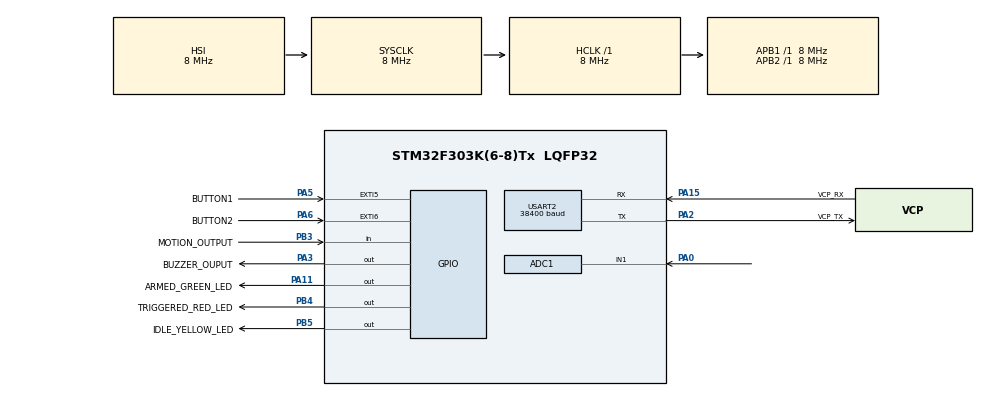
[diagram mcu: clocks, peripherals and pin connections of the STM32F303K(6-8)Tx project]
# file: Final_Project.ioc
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ADC1.Channel-0\#ChannelRegularConversion=ADC_CHANNEL_1
ADC1.ContinuousConvMode=ENABLE
ADC1.NbrOfConversionFlag=1
ADC1.Offset-0\#ChannelRegularConversion=0
ADC1.OffsetNumber-0\#ChannelRegularConversion=ADC_OFFSET_NONE
ADC1.Rank-0\#ChannelRegularConversion=1
ADC1.SamplingTime-0\#ChannelRegularConversion=ADC_SAMPLETIME_1CYCLE_5
ADC1.SamplingTimeOPAMP-0\#ChannelRegularConversion=ADC_SAMPLETIME_4CYCLES_5
ADC1.SubFamily=STM32F303x8
ADC1.master=1
Mcu.Family=STM32F3
Mcu.Name=STM32F303K(6-8)Tx
Mcu.Package=LQFP32
NVIC.EXTI9_5_IRQn=true\:0\:0\:false\:false\:true\:true\:true\:true
NVIC.PriorityGroup=NVIC_PRIORITYGROUP_4
NVIC.USART2_IRQn=true\:0\:0\:false\:false\:true\:true\:true\:true
PA0.Mode=IN1-Single-Ended
PA0.Signal=ADC1_IN1
PA11.GPIO_Label=ARMED_GREEN_LED
PA11.Signal=GPIO_Output
PA13.GPIO_Label=SWDIO
PA13.Mode=Serial_Wire
PA13.Signal=SYS_JTMS-SWDIO
PA14.GPIO_Label=SWCLK
PA14.Mode=Serial_Wire
PA14.Signal=SYS_JTCK-SWCLK
PA15.GPIO_Label=VCP_RX
PA15.Mode=Asynchronous
PA15.Signal=USART2_RX
PA2.GPIO_Label=VCP_TX
PA2.Mode=Asynchronous
PA2.Signal=USART2_TX
PA3.GPIO_Label=BUZZER_OUPUT
PA3.Signal=GPIO_Output
PA5.GPIO_Label=BUTTON1
PA5.Signal=GPXTI5
PA6.GPIO_Label=BUTTON2
PA6.Signal=GPXTI6
PB3.GPIO_Label=MOTION_OUTPUT
PB3.Signal=GPIO_Input
PB4.GPIO_Label=TRIGGERED_RED_LED
PB4.Signal=GPIO_Output
PB5.GPIO_Label=IDLE_YELLOW_LED
PB5.Signal=GPIO_Output
PF0\ /\ OSC_IN.GPIO_Label=MCO
PF0\ /\ OSC_IN.Mode=HSE-External-Clock-Source
PF0\ /\ OSC_IN.Signal=RCC_OSC_IN
ProjectManager.HeapSize=0x200
ProjectManager.StackSize=0x400
ProjectManager.TargetToolchain=STM32CubeIDE
RCC.AHBFreq_Value=8000000
RCC.APB1Freq_Value=8000000
RCC.APB2Freq_Value=8000000
RCC.CortexFreq_Value=8000000
RCC.HSE_VALUE=8000000
RCC.HSI_VALUE=8000000
RCC.PLLMUL=RCC_PLL_MUL4
RCC.SYSCLKFreq_VALUE=8000000
USART2.BaudRate=38400
USART2.TxPinLevelInvertParam=ADVFEATURE_TXINV_DISABLE
USART2.VirtualMode-Asynchronous=VM_ASYNC
board=NUCLEO-F303K8

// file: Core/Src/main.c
/* USER CODE BEGIN Header */
/* USER CODE END Header */
#include "main.h"
#include <stdio.h>
#include <stdlib.h>
#include <string.h>

volatile uint8_t button1Pressed = 0;
volatile uint8_t button2Pressed = 0;
volatile uint32_t lastButtonPressTime = 0;
volatile uint16_t rawValue;
volatile char value;

ADC_HandleTypeDef hadc1;

UART_HandleTypeDef huart2;

void SystemClock_Config(void);
static void MX_GPIO_Init(void);
static void MX_USART2_UART_Init(void);
static void MX_ADC1_Init(void);

/* USER CODE BEGIN 0 */
typedef enum
{
	IDLE_State,
	ARMED_State,
	TRIGGERED_State

} eSystemState;

/* Prototype Event Handlers */
void HAL_GPIO_EXTI_Callback(uint16_t GPIO_Pin) {
	uint32_t currentTime = HAL_GetTick();
	if(GPIO_Pin == BUTTON1_Pin && currentTime - lastButtonPressTime > 50) {
		button1Pressed = 1;
		lastButtonPressTime = HAL_GetTick();
	} else if(GPIO_Pin == BUTTON2_Pin && currentTime - lastButtonPressTime > 50) {
		button2Pressed = 1;
		lastButtonPressTime = HAL_GetTick();
	}
}

uint8_t PassCode_Handler() {
	uint32_t TIMEOUT_TIMER = 5000;
	uint8_t PASSWORD_LENGTH = 4;
	int password[4] = {1,1,1,1};
	volatile uint8_t passwordIndex = 0;
	button1Pressed = 0;
	button2Pressed = 0;
	lastButtonPressTime = HAL_GetTick();

	while(1) {
		//Correct Password Entered
		if(passwordIndex == PASSWORD_LENGTH) {
			HAL_GPIO_WritePin(GPIOA, ARMED_GREEN_LED_Pin, GPIO_PIN_SET);
			HAL_Delay(1000);
			HAL_GPIO_WritePin(GPIOA, ARMED_GREEN_LED_Pin, GPIO_PIN_RESET);
			value = 'P';
			UART_Handler(value);
			button1Pressed = 0;
			button2Pressed = 0;
			return 1;
		}
		//If 5 seconds elapses since last button input, leaves the passcode handler
		if(HAL_GetTick() - lastButtonPressTime >= TIMEOUT_TIMER) {
			button1Pressed = 0;
			button2Pressed = 0;
			return 2;
		}
		//Checks if button1 was the correct choice
		if(button1Pressed) {
			if(passwordIndex < PASSWORD_LENGTH && password[passwordIndex] == 1) {
				passwordIndex++;
				button1Pressed = 0;
				//Incorrect
			} else {
				HAL_GPIO_WritePin(GPIOB, TRIGGERED_RED_LED_Pin, GPIO_PIN_SET);
				HAL_Delay(500);
				HAL_GPIO_WritePin(GPIOB, TRIGGERED_RED_LED_Pin, GPIO_PIN_RESET);
				HAL_Delay(500);
				value = 'p';
				UART_Handler(value);
				button1Pressed = 0;
				return 0;
			}
			//Checks if button2 was the correct choice
		}else if(button2Pressed) {
			if(passwordIndex < PASSWORD_LENGTH && password[passwordIndex] == 0) {
				passwordIndex++;
				button2Pressed = 0;
				//Incorrect
			} else {
				HAL_GPIO_WritePin(GPIOB, TRIGGERED_RED_LED_Pin, GPIO_PIN_SET);
				HAL_Delay(500);
				HAL_GPIO_WritePin(GPIOB, TRIGGERED_RED_LED_Pin, GPIO_PIN_RESET);
				HAL_Delay(500);
				value = 'p';
				UART_Handler(value);
				button2Pressed = 0;
				return 0;
			}
		}
	}
}

void UART_Handler(char value) {
	char data[128];
	uint8_t time = HAL_GetTick()/1000;
	switch(value) {
	case 'p': {
		sprintf(data, "%d : Password Entered Incorrectly\r\n", time);
		HAL_UART_Transmit(&huart2, (uint8_t*)data, strlen(data), HAL_MAX_DELAY);
		break;
	}
	case 'P': {
		sprintf(data, "%d : Password Entered Correctly\r\n", time);
		HAL_UART_Transmit(&huart2, (uint8_t*)data, strlen(data), HAL_MAX_DELAY);
		break;
	}
	case 'I': {
		sprintf(data, "%d : Security System Unarmed\r\n", time);
		HAL_UART_Transmit(&huart2, (uint8_t*)data, strlen(data), HAL_MAX_DELAY);
		break;
	}
	case 'A': {
		sprintf(data, "%d : Security System Armed\r\n", time);
		HAL_UART_Transmit(&huart2, (uint8_t*)data, strlen(data), HAL_MAX_DELAY);
		break;
	}
	case 'M': {
		sprintf(data, "%d : Motion Detected!\r\n", time);
		HAL_UART_Transmit(&huart2, (uint8_t*)data, strlen(data), HAL_MAX_DELAY);
		break;
	}
	case 'L': {
		sprintf(data, "%d : Light Change Detected!\r\n", time);
		HAL_UART_Transmit(&huart2, (uint8_t*)data, strlen(data), HAL_MAX_DELAY);
		break;
	}
	default: break;
	}
	return;
}

uint8_t Sensor_Handler() {
    HAL_ADC_Init(&hadc1);
    HAL_ADC_Start(&hadc1);

	HAL_ADC_PollForConversion(&hadc1, HAL_MAX_DELAY);
	rawValue = HAL_ADC_GetValue(&hadc1);

	while(1) {
		//If rawValue = 2482 (Voltage = 2V) then trigger Security Alarm
		if(rawValue >= 100) {
			value = 'L';
			return 1;
		}

		if(HAL_GPIO_ReadPin(GPIOB, GPIO_PIN_3)) {
			value = 'M';
			return 1;
		}

		else {
			return 0;
		}
	}
	return 0;
}

eSystemState IDLE_Handler(void)
{

	HAL_GPIO_WritePin(GPIOA, ARMED_GREEN_LED_Pin, GPIO_PIN_RESET);
	HAL_GPIO_WritePin(GPIOB, IDLE_YELLOW_LED_Pin, GPIO_PIN_SET);
	HAL_GPIO_WritePin(GPIOB, TRIGGERED_RED_LED_Pin, GPIO_PIN_RESET);
	HAL_GPIO_WritePin(GPIOA, GPIO_PIN_3, GPIO_PIN_RESET);

	value = 'I';
	UART_Handler(value);

	while(1) {
		if(PassCode_Handler() == 1) {
			return ARMED_State;
		}
	}
}

eSystemState ARMED_Handler(void) {
	//So owner has time to leave room before alarm is set
	int i;
	for(i = 0; i < 3; i= i + 1) {
		HAL_GPIO_WritePin(GPIOA, ARMED_GREEN_LED_Pin, GPIO_PIN_SET);
		HAL_Delay(500);
		HAL_GPIO_WritePin(GPIOA, ARMED_GREEN_LED_Pin,GPIO_PIN_RESET);
		HAL_Delay(500);
	}
	HAL_GPIO_WritePin(GPIOB, IDLE_YELLOW_LED_Pin, GPIO_PIN_RESET);
	HAL_GPIO_WritePin(GPIOB, TRIGGERED_RED_LED_Pin, GPIO_PIN_RESET);
	HAL_GPIO_WritePin(GPIOA, ARMED_GREEN_LED_Pin, GPIO_PIN_SET);

	value = 'A';
	UART_Handler(value);

	while(1) {
		if(Sensor_Handler() == 1) {
			return TRIGGERED_State;
		}
	}
}

eSystemState TRIGGERED_Handler(void)
{
	//Visually depicts current state
	HAL_GPIO_WritePin(GPIOB, IDLE_YELLOW_LED_Pin, GPIO_PIN_RESET);
	HAL_GPIO_WritePin(GPIOA, ARMED_GREEN_LED_Pin, GPIO_PIN_RESET);
	HAL_GPIO_WritePin(GPIOB, TRIGGERED_RED_LED_Pin, GPIO_PIN_SET);
	//Alarm Buzzer Triggers
	HAL_GPIO_WritePin(GPIOA, GPIO_PIN_3, GPIO_PIN_SET);

	UART_Handler(value);

	while(1) {
		HAL_GPIO_WritePin(GPIOB, TRIGGERED_RED_LED_Pin, GPIO_PIN_SET);
		//Input Password to disarm
		if(PassCode_Handler() == 1)
		{
			return IDLE_State;
		}
	}
}
/* USER CODE END 0 */

int main(void)
{

  /* MCU Configuration--------------------------------------------------------*/

  /* Reset of all peripherals, Initializes the Flash interface and the Systick. */
  HAL_Init();

  /* Configure the system clock */
  SystemClock_Config();

  /* Initialize all configured peripherals */
  MX_GPIO_Init();
  MX_USART2_UART_Init();
  MX_ADC1_Init();
  /* USER CODE BEGIN 2 */

  /* Declare eNextState and initialize it to IDLE_State */
    eSystemState eNextState = IDLE_State;

    HAL_ADC_Init(&hadc1);
    HAL_ADC_Start(&hadc1);

  /* USER CODE END 2 */

  /* Infinite loop */
    while (1) {

    /* USER CODE BEGIN 3 */
    	switch(eNextState)
    	{
    		case IDLE_State:
    			eNextState = IDLE_Handler();
    	  	break;

    	  	case ARMED_State:
    	  		eNextState = ARMED_Handler();
    	  	break;

    	  	case TRIGGERED_State:
    	  		eNextState = TRIGGERED_Handler();
    	  	break;

    	  	default:
    	  		eNextState = IDLE_Handler();
    	  	break;
    	}
    }
  /* USER CODE END 3 */
}

void SystemClock_Config(void)
{
  RCC_OscInitTypeDef RCC_OscInitStruct = {0};
  RCC_ClkInitTypeDef RCC_ClkInitStruct = {0};
  RCC_PeriphCLKInitTypeDef PeriphClkInit = {0};

  /** Initializes the RCC Oscillators according to the specified parameters
  * in the RCC_OscInitTypeDef structure.
  */
  RCC_OscInitStruct.OscillatorType = RCC_OSCILLATORTYPE_HSI;
  RCC_OscInitStruct.HSIState = RCC_HSI_ON;
  RCC_OscInitStruct.HSICalibrationValue = RCC_HSICALIBRATION_DEFAULT;
  RCC_OscInitStruct.PLL.PLLState = RCC_PLL_ON;
  RCC_OscInitStruct.PLL.PLLSource = RCC_PLLSOURCE_HSI;
  RCC_OscInitStruct.PLL.PLLMUL = RCC_PLL_MUL4;
  if (HAL_RCC_OscConfig(&RCC_OscInitStruct) != HAL_OK)
  {
    Error_Handler();
  }

  /** Initializes the CPU, AHB and APB buses clocks
  */
  RCC_ClkInitStruct.ClockType = RCC_CLOCKTYPE_HCLK|RCC_CLOCKTYPE_SYSCLK
                              |RCC_CLOCKTYPE_PCLK1|RCC_CLOCKTYPE_PCLK2;
  RCC_ClkInitStruct.SYSCLKSource = RCC_SYSCLKSOURCE_HSI;
  RCC_ClkInitStruct.AHBCLKDivider = RCC_SYSCLK_DIV1;
  RCC_ClkInitStruct.APB1CLKDivider = RCC_HCLK_DIV1;
  RCC_ClkInitStruct.APB2CLKDivider = RCC_HCLK_DIV1;

  if (HAL_RCC_ClockConfig(&RCC_ClkInitStruct, FLASH_LATENCY_0) != HAL_OK)
  {
    Error_Handler();
  }
  PeriphClkInit.PeriphClockSelection = RCC_PERIPHCLK_ADC12;
  PeriphClkInit.Adc12ClockSelection = RCC_ADC12PLLCLK_DIV1;
  if (HAL_RCCEx_PeriphCLKConfig(&PeriphClkInit) != HAL_OK)
  {
    Error_Handler();
  }
}

static void MX_ADC1_Init(void)
{

  ADC_MultiModeTypeDef multimode = {0};
  ADC_ChannelConfTypeDef sConfig = {0};

  /** Common config
  */
  hadc1.Instance = ADC1;
  hadc1.Init.ClockPrescaler = ADC_CLOCK_ASYNC_DIV1;
  hadc1.Init.Resolution = ADC_RESOLUTION_12B;
  hadc1.Init.ScanConvMode = ADC_SCAN_DISABLE;
  hadc1.Init.ContinuousConvMode = ENABLE;
  hadc1.Init.DiscontinuousConvMode = DISABLE;
  hadc1.Init.ExternalTrigConvEdge = ADC_EXTERNALTRIGCONVEDGE_NONE;
  hadc1.Init.ExternalTrigConv = ADC_SOFTWARE_START;
  hadc1.Init.DataAlign = ADC_DATAALIGN_RIGHT;
  hadc1.Init.NbrOfConversion = 1;
  hadc1.Init.DMAContinuousRequests = DISABLE;
  hadc1.Init.EOCSelection = ADC_EOC_SINGLE_CONV;
  hadc1.Init.LowPowerAutoWait = DISABLE;
  hadc1.Init.Overrun = ADC_OVR_DATA_OVERWRITTEN;
  if (HAL_ADC_Init(&hadc1) != HAL_OK)
  {
    Error_Handler();
  }

  /** Configure the ADC multi-mode
  */
  multimode.Mode = ADC_MODE_INDEPENDENT;
  if (HAL_ADCEx_MultiModeConfigChannel(&hadc1, &multimode) != HAL_OK)
  {
    Error_Handler();
  }

  /** Configure Regular Channel
  */
  sConfig.Channel = ADC_CHANNEL_1;
  sConfig.Rank = ADC_REGULAR_RANK_1;
  sConfig.SingleDiff = ADC_SINGLE_ENDED;
  sConfig.SamplingTime = ADC_SAMPLETIME_1CYCLE_5;
  sConfig.OffsetNumber = ADC_OFFSET_NONE;
  sConfig.Offset = 0;
  if (HAL_ADC_ConfigChannel(&hadc1, &sConfig) != HAL_OK)
  {
    Error_Handler();
  }

}

static void MX_USART2_UART_Init(void)
{

  huart2.Instance = USART2;
  huart2.Init.BaudRate = 38400;
  huart2.Init.WordLength = UART_WORDLENGTH_8B;
  huart2.Init.StopBits = UART_STOPBITS_1;
  huart2.Init.Parity = UART_PARITY_NONE;
  huart2.Init.Mode = UART_MODE_TX_RX;
  huart2.Init.HwFlowCtl = UART_HWCONTROL_NONE;
  huart2.Init.OverSampling = UART_OVERSAMPLING_16;
  huart2.Init.OneBitSampling = UART_ONE_BIT_SAMPLE_DISABLE;
  huart2.AdvancedInit.AdvFeatureInit = UART_ADVFEATURE_NO_INIT;
  if (HAL_UART_Init(&huart2) != HAL_OK)
  {
    Error_Handler();
  }

}

static void MX_GPIO_Init(void)
{
  GPIO_InitTypeDef GPIO_InitStruct = {0};

  /* GPIO Ports Clock Enable */
  __HAL_RCC_GPIOF_CLK_ENABLE();
  __HAL_RCC_GPIOA_CLK_ENABLE();
  __HAL_RCC_GPIOB_CLK_ENABLE();

  /*Configure GPIO pin Output Level */
  HAL_GPIO_WritePin(GPIOA, BUZZER_OUPUT_Pin|ARMED_GREEN_LED_Pin, GPIO_PIN_RESET);

  /*Configure GPIO pin Output Level */
  HAL_GPIO_WritePin(GPIOB, TRIGGERED_RED_LED_Pin|IDLE_YELLOW_LED_Pin, GPIO_PIN_RESET);

  /*Configure GPIO pins : BUZZER_OUPUT_Pin ARMED_GREEN_LED_Pin */
  GPIO_InitStruct.Pin = BUZZER_OUPUT_Pin|ARMED_GREEN_LED_Pin;
  GPIO_InitStruct.Mode = GPIO_MODE_OUTPUT_PP;
  GPIO_InitStruct.Pull = GPIO_NOPULL;
  GPIO_InitStruct.Speed = GPIO_SPEED_FREQ_LOW;
  HAL_GPIO_Init(GPIOA, &GPIO_InitStruct);

  /*Configure GPIO pins : BUTTON1_Pin BUTTON2_Pin */
  GPIO_InitStruct.Pin = BUTTON1_Pin|BUTTON2_Pin;
  GPIO_InitStruct.Mode = GPIO_MODE_IT_RISING;
  GPIO_InitStruct.Pull = GPIO_NOPULL;
  HAL_GPIO_Init(GPIOA, &GPIO_InitStruct);

  /*Configure GPIO pin : MOTION_OUTPUT_Pin */
  GPIO_InitStruct.Pin = MOTION_OUTPUT_Pin;
  GPIO_InitStruct.Mode = GPIO_MODE_INPUT;
  GPIO_InitStruct.Pull = GPIO_NOPULL;
  HAL_GPIO_Init(MOTION_OUTPUT_GPIO_Port, &GPIO_InitStruct);

  /*Configure GPIO pins : TRIGGERED_RED_LED_Pin IDLE_YELLOW_LED_Pin */
  GPIO_InitStruct.Pin = TRIGGERED_RED_LED_Pin|IDLE_YELLOW_LED_Pin;
  GPIO_InitStruct.Mode = GPIO_MODE_OUTPUT_PP;
  GPIO_InitStruct.Pull = GPIO_NOPULL;
  GPIO_InitStruct.Speed = GPIO_SPEED_FREQ_LOW;
  HAL_GPIO_Init(GPIOB, &GPIO_InitStruct);

  /* EXTI interrupt init*/
  HAL_NVIC_SetPriority(EXTI9_5_IRQn, 0, 0);
  HAL_NVIC_EnableIRQ(EXTI9_5_IRQn);

}

void Error_Handler(void)
{
}
